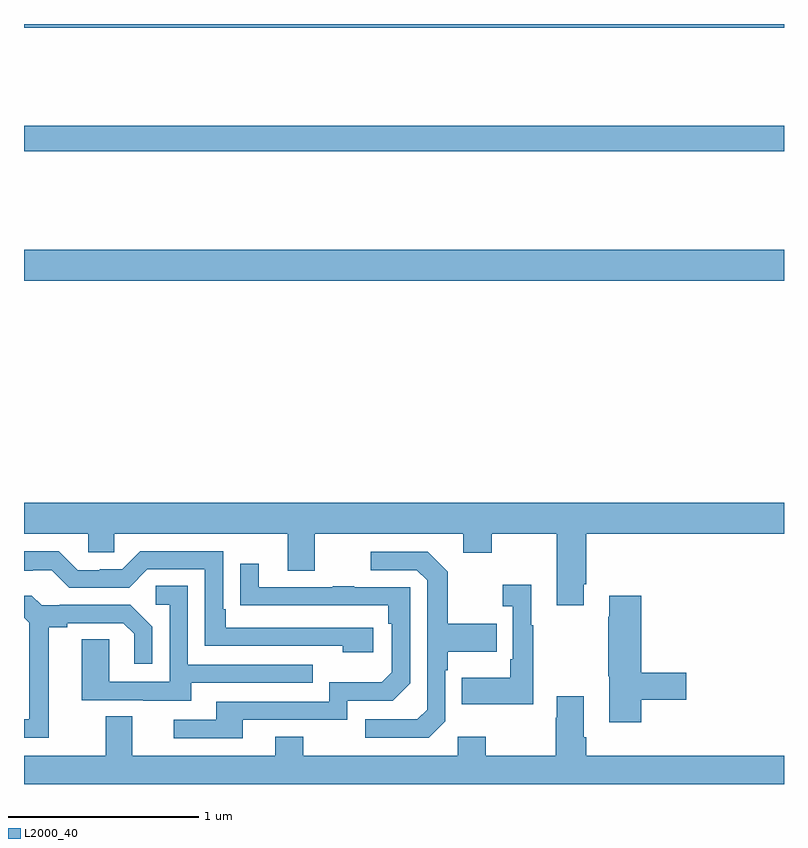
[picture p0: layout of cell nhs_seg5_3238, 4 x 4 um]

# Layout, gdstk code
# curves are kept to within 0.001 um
import gdstk
lib = gdstk.Library(unit=1e-6, precision=1e-09)
def R(c, l, rs):  # rectangles x0, y0, x1, y1
    for r in rs: c.add(gdstk.rectangle(r[:2], r[2:], *l))
def P(c, l, *ps):  # polygons
    for p in ps: c.add(gdstk.Polygon(p, *l))
L2000_40 = (2000, 40)

nhs_seg5_3238 = lib.new_cell('nhs_seg5_3238')
R(nhs_seg5_3238, L2000_40, [(299,835.448,303,835.612), (299,836.128,303,836.264), (299,836.78,303,836.799)])
P(nhs_seg5_3238, L2000_40, [(299,834.116),(299.337,834.116),(299.337,834.018),(299.475,834.018),(299.475,834.116),(300.389,834.116),(300.389,833.922),(300.529,833.922),(300.529,834.116),(301.313,834.116),(301.313,834.017),(301.461,834.017),(301.461,834.116),(301.805,834.116),(301.805,833.739),(301.945,833.739),(301.945,833.851),(301.958,833.851),(301.958,834.116),(303,834.116),(303,834.28),(299,834.28)],
  [(300.838,833.622),(300.061,833.622),(300.061,833.719),(300.048,833.719),(300.048,834.024),(299.613,834.024),(299.517,833.928),(299.399,833.928),(299.399,833.925),(299.283,833.925),(299.183,834.025),(299,834.025),(299,833.921),(299.045,833.921),(299.045,833.925),(299.145,833.925),(299.238,833.832),(299.553,833.832),(299.649,833.928),(299.952,833.928),(299.952,833.526),(300.677,833.526),(300.677,833.492),(300.838,833.492)],
  [(301.218,833.13),(301.218,833.399),(301.231,833.399),(301.231,833.495),(301.487,833.495),(301.487,833.643),(301.231,833.643),(301.231,833.915),(301.125,834.021),(300.825,834.021),(300.825,833.925),(301.068,833.925),(301.122,833.871),(301.122,833.19),(301.071,833.139),(300.795,833.139),(300.795,833.043),(301.131,833.043)],
  [(300.151,833.136),(300.702,833.136),(300.702,833.238),(300.942,833.238),(301.032,833.328),(301.032,833.835),(300.737,833.835),(300.737,833.84),(300.625,833.84),(300.625,833.835),(300.235,833.835),(300.235,833.959),(300.139,833.959),(300.139,833.74),(300.916,833.739),(300.916,833.642),(300.936,833.642),(300.936,833.388),(300.883,833.335),(300.606,833.335),(300.606,833.232),(300.011,833.232),(300.011,833.136),(299.787,833.136),(299.787,833.04),(300.151,833.04)],
  [(301.681,833.635),(301.669,833.635),(301.669,833.848),(301.521,833.848),(301.521,833.735),(301.572,833.735),(301.572,833.455),(301.56,833.455),(301.56,833.359),(301.303,833.359),(301.303,833.219),(301.681,833.219)],
  [(299.881,833.331),(300.521,833.331),(300.521,833.427),(299.862,833.427),(299.862,833.843),(299.694,833.843),(299.694,833.742),(299.766,833.742),(299.766,833.337),(299.448,833.337),(299.448,833.561),(299.303,833.561),(299.303,833.241),(299.627,833.241),(299.627,833.237),(299.881,833.237)],
  [(302.249,833.242),(302.485,833.242),(302.485,833.384),(302.249,833.384),(302.249,833.791),(302.081,833.791),(302.081,833.678),(302.074,833.678),(302.074,833.367),(302.081,833.367),(302.081,833.124),(302.249,833.124)],
  [(299.131,833.624),(299.227,833.624),(299.227,833.646),(299.522,833.646),(299.579,833.589),(299.579,833.433),(299.676,833.433),(299.676,833.626),(299.56,833.742),(299.188,833.742),(299.188,833.739),(299.094,833.739),(299.042,833.791),(299,833.791),(299,833.674),(299.027,833.647),(299.027,833.139),(299,833.139),(299,833.043),(299.131,833.043)],
  [(303,832.948),(301.958,832.948),(301.958,833.044),(301.945,833.044),(301.945,833.26),(301.805,833.26),(301.805,833.147),(301.798,833.147),(301.798,832.948),(301.431,832.948),(301.431,833.047),(301.284,833.047),(301.284,832.948),(300.471,832.948),(300.471,833.047),(300.323,833.047),(300.323,832.948),(299.569,832.948),(299.569,833.156),(299.429,833.156),(299.429,832.948),(299,832.948),(299,832.799),(303,832.799)])

lib.write_gds('nhs_seg5_3238.gds')
